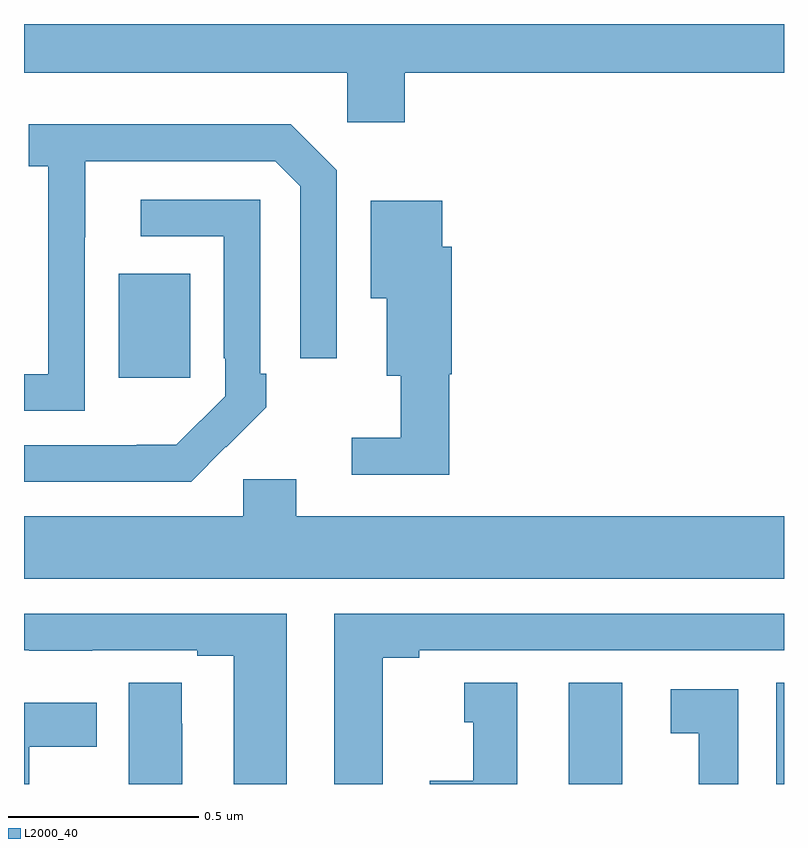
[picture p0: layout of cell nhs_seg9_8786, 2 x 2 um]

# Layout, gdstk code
import gdstk
lib = gdstk.Library(unit=1e-6, precision=1e-09)
def R(c, l, rs):  # rectangles x0, y0, x1, y1
    for r in rs: c.add(gdstk.rectangle(r[:2], r[2:], *l))
def P(c, l, *ps):  # polygons
    for p in ps: c.add(gdstk.Polygon(p, *l))
L2000_40 = (2000, 40)

nhs_seg9_8786 = lib.new_cell('nhs_seg9_8786')
R(nhs_seg9_8786, L2000_40, [(222.434,1242.5,222.574,1242.766), (222.98,1242.5,223,1242.767), (221.249,1243.569,221.437,1243.843)])
P(nhs_seg9_8786, L2000_40, [(222.002,1244.372),(223,1244.372),(223,1244.5),(221,1244.5),(221,1244.372),(221.85,1244.372),(221.85,1244.241),(222.002,1244.241)],
  [(221.16,1243.939),(221.161,1243.939),(221.161,1244.139),(221.661,1244.139),(221.727,1244.073),(221.727,1243.62),(221.823,1243.62),(221.823,1244.115),(221.702,1244.236),(221.013,1244.236),(221.013,1244.126),(221.064,1244.126),(221.064,1243.578),(221,1243.578),(221,1243.482),(221.16,1243.482)],
  [(221.531,1243.387),(221.532,1243.386),(221.637,1243.491),(221.637,1243.579),(221.622,1243.579),(221.622,1244.037),(221.307,1244.037),(221.307,1243.941),(221.526,1243.941),(221.526,1243.621),(221.529,1243.621),(221.529,1243.521),(221.401,1243.393),(221.297,1243.393),(221.297,1243.392),(221,1243.392),(221,1243.296),(221.44,1243.296)],
  [(222.119,1243.578),(222.125,1243.578),(222.125,1243.914),(222.1,1243.914),(222.1,1244.035),(221.912,1244.035),(221.912,1243.778),(221.954,1243.778),(221.954,1243.574),(221.991,1243.574),(221.991,1243.411),(221.862,1243.411),(221.862,1243.314),(222.119,1243.314)],
  [(223,1243.204),(221.716,1243.204),(221.716,1243.302),(221.577,1243.302),(221.577,1243.204),(221,1243.204),(221,1243.04),(223,1243.04)],
  [(221.692,1242.948),(221,1242.948),(221,1242.852),(221.014,1242.852),(221.014,1242.851),(221.18,1242.851),(221.18,1242.852),(221.456,1242.852),(221.456,1242.837),(221.552,1242.837),(221.552,1242.5),(221.692,1242.5)],
  [(221.944,1242.832),(222.04,1242.832),(222.04,1242.852),(223,1242.852),(223,1242.948),(221.816,1242.948),(221.816,1242.5),(221.944,1242.5)],
  [(221.416,1242.659),(221.415,1242.659),(221.415,1242.767),(221.276,1242.767),(221.276,1242.5),(221.416,1242.5)],
  [(222.298,1242.766),(222.158,1242.766),(222.158,1242.663),(222.182,1242.663),(222.182,1242.508),(222.068,1242.508),(222.068,1242.5),(222.298,1242.5)],
  [(222.88,1242.75),(222.702,1242.75),(222.702,1242.634),(222.776,1242.634),(222.776,1242.5),(222.88,1242.5)],
  [(221.014,1242.598),(221.191,1242.598),(221.191,1242.714),(221,1242.714),(221,1242.5),(221.014,1242.5)])

lib.write_gds('nhs_seg9_8786.gds')
